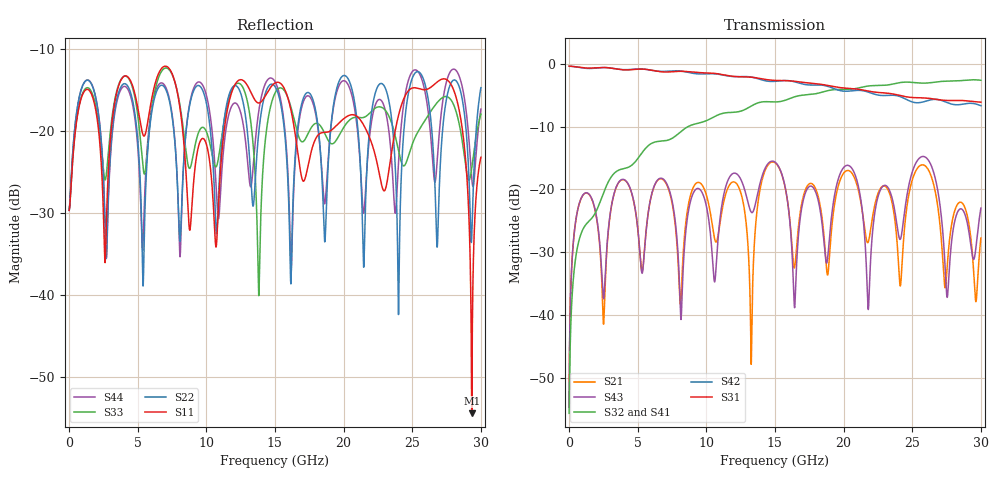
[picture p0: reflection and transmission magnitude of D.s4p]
!diffpair-meanders D (U-bend, dense accordion (4 excursions) next to the bend), mesh xfine
!ports 1 P_near 2 N_near 3 P_far 4 N_far; openEMS FDTD, lumped 50 ohm ports
# Hz S RI R 50.0
! Port[1] = P_near
! Port[2] = N_near
! Port[3] = P_far
! Port[4] = N_far
!freq ReS11 ImS11 ReS12 ImS12 ReS13 ImS13
! ReS14 ImS14
! ReS21 ImS21 ReS22 ImS22 ReS23 ImS23
! ReS24 ImS24
! ReS31 ImS31 ReS32 ImS32 ReS33 ImS33
! ReS34 ImS34
! ReS41 ImS41 ReS42 ImS42 ReS43 ImS43
! ReS44 ImS44
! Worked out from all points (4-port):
!   3000 points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, 10 MHz to 30 GHz, reference 50 ohm
!   strongest paths, dB at 10 MHz, 7.51 GHz, 15.01 GHz, 22.51 GHz, 30 GHz:
!     S31: -0.4, -1.3, -2.7, -4.6, -6.1
!     S42: -0.4, -1.1, -2.8, -5.0, -6.7
!     S32: -55.6, -11.9, -6.1, -3.5, -2.6
!     S41: -55.7, -12.0, -6.2, -3.4, -2.6
!     S43: -54.7, -21.9, -15.7, -21.1, -23.0
!     S21: -54.7, -22.2, -15.8, -20.6, -27.7
!   lowest |S11| = -54.4 dB at 29.33 GHz (marker M1), VSWR 1.00, Z = 50.1 - j0.126 ohm
!   |S11| at or under -10 dB: start of sweep to end of sweep
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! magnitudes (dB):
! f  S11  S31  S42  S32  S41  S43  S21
! 10 MHz  -29.7  -0.4  -0.4  -55.6  -55.7  -54.7  -54.7
! 720 MHz  -17.2  -0.6  -0.6  -28.2  -28.2  -22.5  -22.5
! 3.51 GHz  -15.1  -0.9  -0.8  -17.1  -16.8  -19.3  -19.3
! 13.83 GHz  -16.6  -2.3  -2.4  -6.2  -6.4  -19.8  -21.1
! 27.51 GHz  -13.8  -5.8  -6.2  -2.8  -2.9  -36.8  -33.4
! 29.33 GHz  -54.4  -6.0  -6.3  -2.6  -2.6  -29.8  -29.0
! 30 GHz  -23.2  -6.1  -6.7  -2.6  -2.6  -23.0  -27.7
